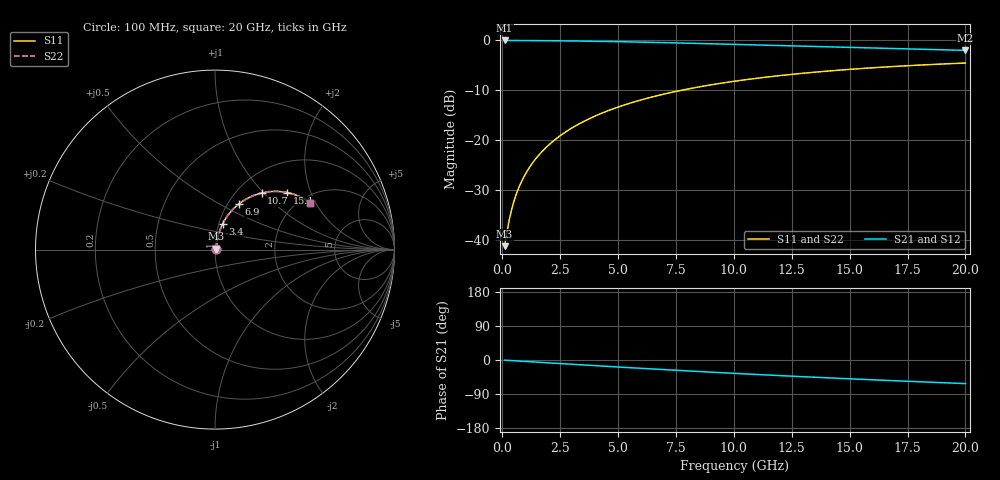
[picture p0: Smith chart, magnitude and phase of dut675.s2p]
! Touchstone file exported from HFSS 2026.1.0
!  File:  C:/ffzhzh/LocalFiles/Ansys_Project_Files/temp_train_BSMRDL_675_1783017421_55676.aedt
!  Generated:  02:38:37 AM Jul  3, 2026
!  Design:  BSMRDL
!  Project:  temp_train_BSMRDL_675_1783017421_55676
! Variables:
!  h_bsmrdl = 3.09um
!  h_ox = 20um
!  h_rdl = 5um
!  h_sub = 80um
!  h_tmrdl = 5um
!  h_tsv = 80um
!  h_via = 3um
!  l_bsmrdl = 944.06um
!  l_sub = 1344.06um
!  l_tmrdl = 200um
!  m_sub = 200um
!  pitch = 46.81um
!  r_tsv = 6um
!  s_tmrdl = 10um
!  w_bsmrdl = 14.66um
!  w_sub = 500um
!  w_tmrdl = 12um
!  x_tsv_center1 = 206um
!  x_tsv_center2 = 1164.72um
!  x_tsv_center3 = 1376.72um
!  x_tsv_center4 = 2335.44um
!  x_tsv_center5 = 2547.44um
!  x_tsv_center6 = 3506.16um
# GHz S MA R 50.000000
! Terminal data exported
! Port[1] = BSM_RDL1_1_T1
! Port[2] = BSM_RDL1_1_T2
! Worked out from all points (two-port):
!   200 points, 100 MHz to 20 GHz, reference 50 ohm
!   highest |S21| = -0.06 dB at 100 MHz (marker M1); lowest = -2.0 dB at 20 GHz (marker M2)
!   |S21| within 3 dB of the highest: start of sweep to end of sweep
!   lowest |S11| = -41.1 dB at 100 MHz (marker M3), VSWR 1.02, Z = 50.7 + j0.476 ohm
!   |S11| at or under -10 dB: start of sweep to 7.747 GHz
!   |S22| runs from -41.1 to -4.6 dB; largest |S21 - S12| = 3.3e-15
!   S11 on the Smith chart (normalised r, x): 100 MHz: 1.01, +0.01; 3.4 GHz: 1.04, +0.31; 6.9 GHz: 1.12, +0.62; 10.7 GHz: 1.29, +0.97; 15.1 GHz: 1.61, +1.39; 20 GHz: 2.26, +1.81
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0.1  0.008772 32.3  0.9926 -0.4  0.9926 -0.4  0.008772 32.3
! Gamma 0 0 0 0
! Port Impedance 50 0 50 0
0.3  0.01603 60.2  0.9922 -1.2  0.9922 -1.2  0.01603 60.2
0.4  0.02022 65.6  0.992 -1.6  0.992 -1.6  0.02022 65.6
0.5  0.0245 68.9  0.9917 -1.9  0.9917 -1.9  0.0245 68.9
0.6  0.0288 71.1  0.9914 -2.3  0.9914 -2.3  0.0288 71.1
0.8  0.03744 73.9  0.9909 -3.1  0.9909 -3.1  0.03744 73.9
1.1  0.05045 75.8  0.99 -4.2  0.99 -4.2  0.05045 75.8
1.6  0.07219 76.7  0.9884 -6.1  0.9884 -6.1  0.07219 76.7
2.1  0.09388 76.4  0.9863 -7.9  0.9863 -7.9  0.09388 76.4
2.7  0.1197 75.2  0.9832 -10.1  0.9832 -10.1  0.1197 75.3
3.4  0.1494 73.4  0.9788 -12.7  0.9788 -12.7  0.1494 73.4
3.5  0.1536 73.1  0.9781 -13.1  0.9781 -13.1  0.1536 73.2
5  0.2147 68.5  0.9656 -18.5  0.9656 -18.5  0.2147 68.6
6.8  0.2829 62.7  0.9468 -24.8  0.9468 -24.8  0.2829 62.8
6.9  0.2865 62.4  0.9457 -25.1  0.9457 -25.1  0.2865 62.4
8.4  0.3381 57.6  0.9277 -30.1  0.9277 -30.1  0.3381 57.7
10.1  0.3909 52.4  0.9061 -35.5  0.9061 -35.5  0.3909 52.4
10.7  0.4082 50.6  0.8983 -37.4  0.8983 -37.4  0.4081 50.6
13.4  0.4767 42.8  0.8634 -45.3  0.8634 -45.3  0.4766 42.9
15.1  0.5128 38.2  0.8425 -50.0  0.8425 -50.0  0.5128 38.4
16.7  0.5423 34.1  0.8241 -54.2  0.8241 -54.2  0.5422 34.3
20  0.5908 26.2  0.7908 -62.3  0.7908 -62.3  0.5907 26.3
